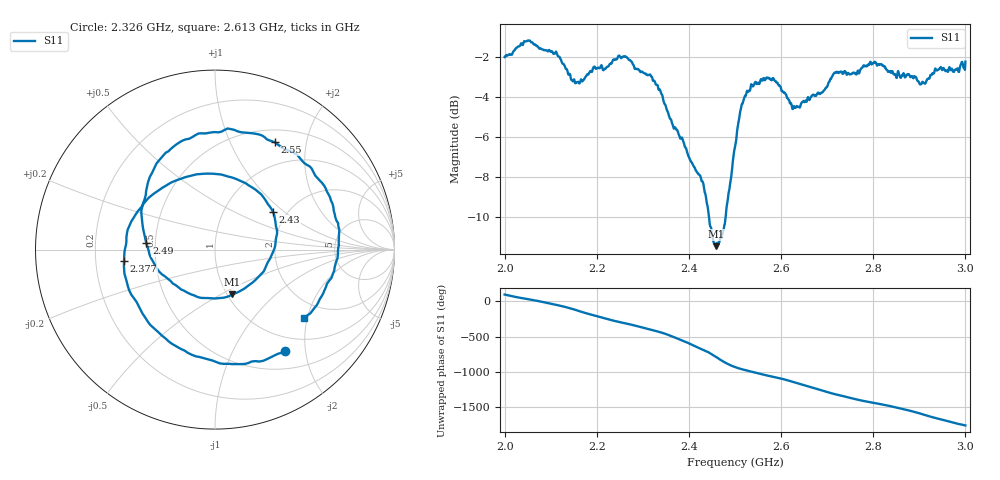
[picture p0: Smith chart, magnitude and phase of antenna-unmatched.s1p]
! created by martin at Mon Apr 11 21:50:44 BST 2022
! generated using vna/J Version 3.4.8
# Hz S DB R 50
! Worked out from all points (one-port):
!   1014 points, 2 GHz to 3 GHz, reference 50 ohm
!   lowest |S11| = -11.5 dB at 2.459 GHz (marker M1), VSWR 1.73, Z = 52.8 - j28.4 ohm
!   |S11| at or under -10 dB: 2.443 GHz to 2.48 GHz (36.3 MHz wide, 1.47 % of centre)
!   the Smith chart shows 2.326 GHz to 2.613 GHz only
!   S11 on the Smith chart (normalised r, x): 2.326 GHz: 0.76, -1.64; 2.377 GHz: 0.32, -0.06; 2.43 GHz: 1.69, +0.84; 2.49 GHz: 0.45, +0.04; 2.55 GHz: 0.66, +1.49; 2.613 GHz: 1.53, -1.92
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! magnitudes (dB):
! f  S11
! 2 GHz  -2.0
! 2.051 GHz  -1.2
! 2.125 GHz  -2.3
! 2.158 GHz  -3.3
! 2.251 GHz  -2.0
! 2.326 GHz  -3.2
! 2.375 GHz  -5.7
! 2.377 GHz  -5.8
! 2.43 GHz  -8.3
! 2.45 GHz  -10.9
! 2.459 GHz  -11.5
! 2.475 GHz  -10.7
! 2.49 GHz  -8.3
! 2.5 GHz  -6.4
! 2.51 GHz  -4.9
! 2.518 GHz  -4.2
! 2.55 GHz  -3.3
! 2.585 GHz  -3.2
! 2.613 GHz  -4.1
! 2.626 GHz  -4.6
! 2.689 GHz  -3.8
! 2.718 GHz  -2.8
! 2.75 GHz  -2.9
! 2.799 GHz  -2.3
! 2.876 GHz  -2.9
! 2.907 GHz  -3.2
! 2.939 GHz  -2.7
! 3 GHz  -2.2
